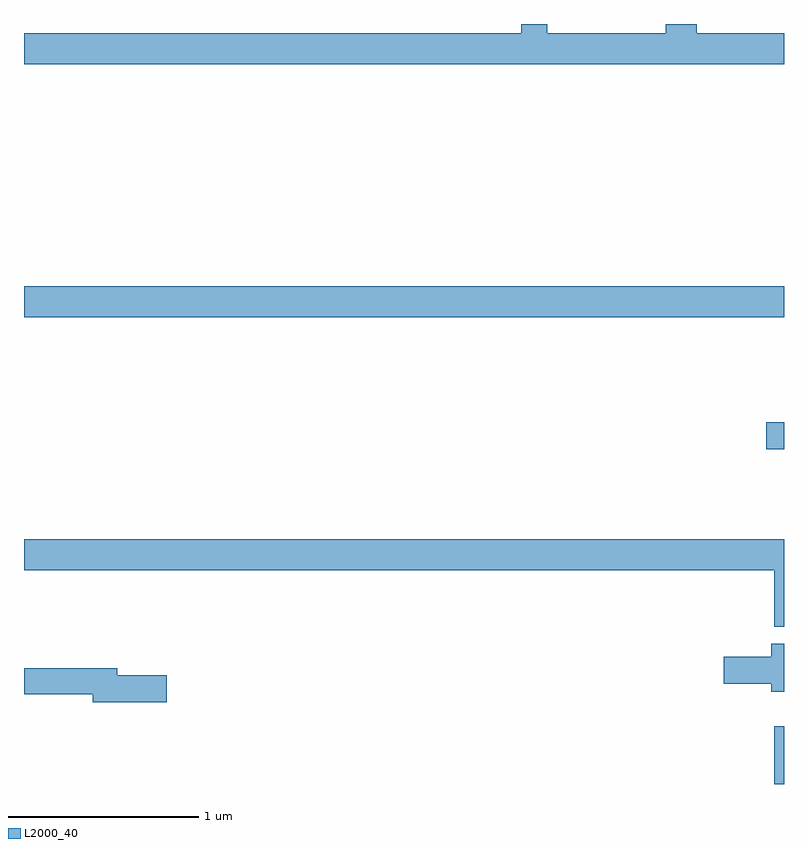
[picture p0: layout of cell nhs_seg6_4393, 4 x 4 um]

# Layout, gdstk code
import gdstk
lib = gdstk.Library(unit=1e-6, precision=1e-09)
def R(c, l, rs):  # rectangles x0, y0, x1, y1
    for r in rs: c.add(gdstk.rectangle(r[:2], r[2:], *l))
def P(c, l, *ps):  # polygons
    for p in ps: c.add(gdstk.Polygon(p, *l))
L2000_40 = (2000, 40)

nhs_seg6_4393 = lib.new_cell('nhs_seg6_4393')
R(nhs_seg6_4393, L2000_40, [(372.948,991.5,373,991.804), (372.906,993.262,373,993.404), (369,993.956,373,994.12)])
P(nhs_seg6_4393, L2000_40, [(373,995.452),(372.542,995.452),(372.542,995.5),(372.377,995.5),(372.377,995.452),(371.753,995.452),(371.753,995.5),(371.617,995.5),(371.617,995.452),(369,995.452),(369,995.288),(373,995.288)],
  [(373,992.788),(369,992.788),(369,992.624),(372.948,992.624),(372.948,992.328),(373,992.328)],
  [(373,992.239),(372.932,992.239),(372.932,992.169),(372.684,992.169),(372.684,992.027),(372.932,992.027),(372.932,991.985),(373,991.985)],
  [(369.751,992.072),(369.49,992.072),(369.49,992.108),(369,992.108),(369,991.972),(369.362,991.972),(369.362,991.93),(369.751,991.93)])

lib.write_gds('nhs_seg6_4393.gds')
